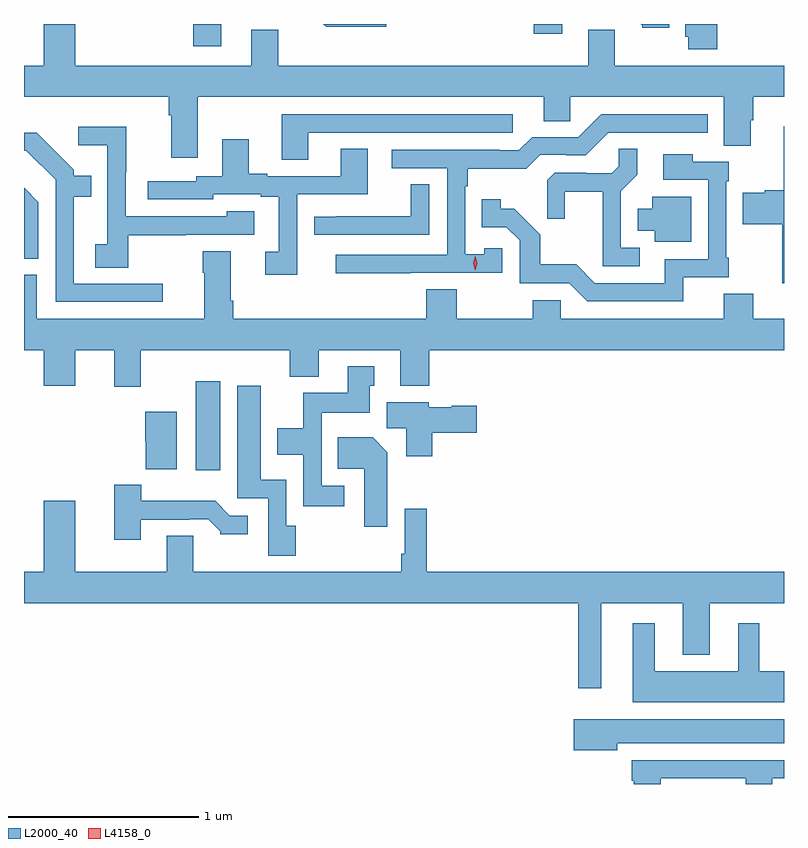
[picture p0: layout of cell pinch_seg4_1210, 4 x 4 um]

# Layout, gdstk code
import gdstk
lib = gdstk.Library(unit=1e-6, precision=1e-09)
def R(c, l, rs):  # rectangles x0, y0, x1, y1
    for r in rs: c.add(gdstk.rectangle(r[:2], r[2:], *l))
def P(c, l, *ps):  # polygons
    for p in ps: c.add(gdstk.Polygon(p, *l))
L2000_40 = (2000, 40)
L4158_0 = (4158, 0)

pinch_seg4_1210 = lib.new_cell('pinch_seg4_1210')
R(pinch_seg4_1210, L2000_40, [(333.638,818.832,333.769,819.301), (333.626,821.064,333.772,821.18), (335.417,821.13,335.569,821.18)])
P(pinch_seg4_1210, L2000_40, [(334.642,821.18),(334.31,821.18),(334.325,821.165),(334.642,821.165)],
  [(336.13,821.18),(335.982,821.18),(335.988,821.174),(335.988,821.159),(336.13,821.159)],
  [(336.384,821.18),(336.215,821.18),(336.215,821.112),(336.232,821.112),(336.232,821.046),(336.384,821.046)],
  [(333.649,820.796),(335.471,820.796),(335.471,820.669),(335.61,820.669),(335.61,820.796),(336.419,820.796),(336.419,820.54),(336.559,820.54),(336.559,820.674),(336.572,820.674),(336.572,820.796),(336.735,820.796),(336.735,820.96),(335.845,820.96),(335.845,821.15),(335.705,821.15),(335.705,820.96),(334.072,820.96),(334.072,821.15),(333.932,821.15),(333.932,820.96),(333.004,820.96),(333.004,821.18),(332.84,821.18),(332.84,820.96),(332.735,820.96),(332.735,820.796),(333.497,820.796),(333.497,820.7),(333.509,820.7),(333.509,820.476),(333.649,820.476)],
  [(334.769,819.87),(335.253,819.87),(335.253,819.999),(335.157,819.999),(335.157,819.967),(335.058,819.967),(335.058,820.325),(335.071,820.325),(335.071,820.418),(335.378,820.418),(335.451,820.491),(335.59,820.491),(335.59,820.488),(335.691,820.488),(335.811,820.608),(336.334,820.608),(336.334,820.704),(335.772,820.704),(335.652,820.584),(335.409,820.584),(335.34,820.515),(335.24,820.515),(335.24,820.518),(334.671,820.518),(334.671,820.422),(334.962,820.422),(334.962,819.966),(334.377,819.966),(334.377,819.868),(334.769,819.868)],
  [(334.231,820.608),(335.308,820.608),(335.308,820.704),(334.091,820.704),(334.091,820.465),(334.231,820.465)],
  [(336.735,820.642),(336.734,820.642),(336.734,820.304),(336.633,820.304),(336.633,820.291),(336.517,820.291),(336.517,820.126),(336.727,820.126),(336.727,819.816),(336.735,819.816)],
  [(333.283,820.069),(333.587,820.069),(333.587,820.071),(333.946,820.071),(333.946,820.195),(333.801,820.195),(333.801,820.167),(333.27,820.167),(333.27,820.4),(333.273,820.4),(333.273,820.639),(333.021,820.639),(333.021,820.541),(333.174,820.541),(333.174,820.02),(333.111,820.02),(333.111,819.898),(333.283,819.898)],
  [(333.466,819.813),(332.998,819.813),(332.998,820.272),(333.089,820.272),(333.089,820.381),(332.997,820.381),(332.997,820.413),(332.802,820.608),(332.735,820.608),(332.735,820.512),(332.748,820.512),(332.901,820.359),(332.901,819.717),(333.466,819.717)],
  [(334.173,820.284),(334.543,820.284),(334.543,820.523),(334.403,820.523),(334.403,820.38),(334.015,820.38),(334.015,820.393),(333.919,820.393),(333.919,820.573),(333.779,820.573),(333.779,820.38),(333.642,820.38),(333.642,820.353),(333.387,820.353),(333.387,820.257),(333.732,820.257),(333.732,820.284),(333.98,820.284),(333.98,820.272),(334.076,820.272),(334.076,819.981),(334.005,819.981),(334.005,819.861),(334.173,819.861)],
  [(335.977,820.002),(335.877,820.002),(335.877,820.301),(335.963,820.387),(335.963,820.523),(335.865,820.523),(335.865,820.432),(335.828,820.395),(335.694,820.395),(335.694,820.398),(335.529,820.398),(335.488,820.357),(335.488,820.155),(335.582,820.155),(335.582,820.298),(335.78,820.298),(335.78,819.906),(335.977,819.906)],
  [(336.206,819.846),(336.445,819.846),(336.445,819.949),(336.432,819.949),(336.432,820.352),(336.445,820.352),(336.445,820.455),(336.255,820.455),(336.255,820.495),(336.099,820.495),(336.099,820.359),(336.336,820.359),(336.336,819.942),(336.107,819.942),(336.107,819.816),(335.739,819.816),(335.641,819.915),(335.452,819.915),(335.452,820.07),(335.314,820.208),(335.244,820.208),(335.244,820.258),(335.143,820.258),(335.143,820.11),(335.274,820.11),(335.343,820.041),(335.343,819.816),(335.604,819.816),(335.7,819.72),(336.206,819.72)],
  [(334.869,820.337),(334.771,820.337),(334.771,820.167),(334.375,820.167),(334.375,820.166),(334.263,820.166),(334.263,820.071),(334.869,820.071)],
  [(332.811,820.243),(332.735,820.319),(332.735,819.945),(332.811,819.945)],
  [(336.247,820.27),(336.041,820.27),(336.041,820.207),(335.966,820.207),(335.966,820.091),(336.056,820.091),(336.056,820.034),(336.247,820.034)],
  [(333.349,819.464),(334.133,819.464),(334.133,819.323),(334.285,819.323),(334.285,819.464),(334.715,819.464),(334.715,819.275),(334.868,819.275),(334.868,819.464),(336.735,819.464),(336.735,819.628),(336.572,819.628),(336.572,819.761),(336.419,819.761),(336.419,819.628),(335.559,819.628),(335.559,819.726),(335.413,819.726),(335.413,819.628),(335.013,819.628),(335.013,819.785),(334.853,819.785),(334.853,819.628),(333.836,819.628),(333.836,819.724),(333.823,819.724),(333.823,819.985),(333.676,819.985),(333.676,819.872),(333.683,819.872),(333.683,819.628),(332.803,819.628),(332.803,819.86),(332.735,819.86),(332.735,819.464),(332.84,819.464),(332.84,819.276),(333.004,819.276),(333.004,819.464),(333.209,819.464),(333.209,819.27),(333.349,819.27)],
  [(334.42,818.751),(334.302,818.751),(334.302,819.134),(334.555,819.134),(334.555,819.276),(334.579,819.276),(334.579,819.379),(334.439,819.379),(334.439,819.238),(334.204,819.238),(334.204,819.052),(334.067,819.052),(334.067,818.912),(334.206,818.912),(334.206,818.643),(334.42,818.643)],
  [(334.164,818.538),(334.116,818.538),(334.116,818.782),(333.982,818.782),(333.982,819.277),(333.857,819.277),(333.857,818.685),(334.02,818.685),(334.02,818.382),(334.164,818.382)],
  [(334.883,819.029),(335.119,819.029),(335.119,819.171),(334.986,819.171),(334.986,819.163),(334.866,819.163),(334.866,819.19),(334.643,819.19),(334.643,819.052),(334.748,819.052),(334.748,818.904),(334.883,818.904)],
  [(333.538,819.139),(333.374,819.139),(333.374,818.985),(333.376,818.985),(333.376,818.837),(333.538,818.837)],
  [(334.648,818.926),(334.57,819.004),(334.387,819.004),(334.387,818.84),(334.526,818.84),(334.526,818.535),(334.648,818.535)],
  [(333.349,818.571),(333.605,818.571),(333.605,818.574),(333.704,818.574),(333.768,818.51),(333.768,818.495),(333.913,818.495),(333.913,818.592),(333.819,818.592),(333.741,818.671),(333.352,818.671),(333.352,818.755),(333.209,818.755),(333.209,818.466),(333.349,818.466)],
  [(332.84,818.671),(332.84,818.296),(332.735,818.296),(332.735,818.132),(335.652,818.132),(335.652,817.683),(335.773,817.683),(335.773,818.132),(336.203,818.132),(336.203,817.859),(336.343,817.859),(336.343,818.132),(336.735,818.132),(336.735,818.296),(334.856,818.296),(334.856,818.629),(334.74,818.629),(334.74,818.392),(334.72,818.392),(334.72,818.296),(333.625,818.296),(333.625,818.486),(333.485,818.486),(333.485,818.296),(333.004,818.296),(333.004,818.671)],
  [(336.735,817.774),(336.604,817.774),(336.604,818.026),(336.494,818.026),(336.494,817.774),(336.055,817.774),(336.055,818.026),(335.939,818.026),(335.939,817.61),(336.735,817.61)],
  [(335.857,817.394),(336.735,817.394),(336.735,817.522),(335.628,817.522),(335.628,817.358),(335.857,817.358)],
  [(336.085,817.209),(336.533,817.209),(336.533,817.18),(336.673,817.18),(336.673,817.209),(336.735,817.209),(336.735,817.305),(335.933,817.305),(335.933,817.197),(335.945,817.197),(335.945,817.18),(336.085,817.18)])
P(pinch_seg4_1210, L4158_0, [(335.11,819.885),(335.11,819.885),(335.1,819.921),(335.11,819.957),(335.11,819.957),(335.11,819.957),(335.12,819.921),(335.11,819.885)])

lib.write_gds('pinch_seg4_1210.gds')
